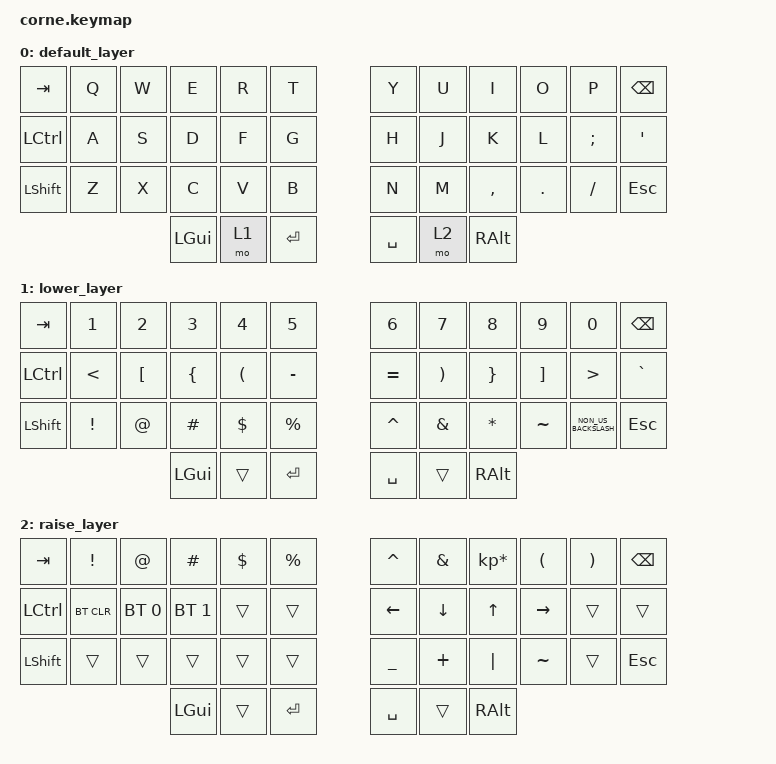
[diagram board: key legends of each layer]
/*
 * Copyright (c) 2020 The ZMK Contributors
 *
 * SPDX-License-Identifier: MIT
 */

#include <behaviors.dtsi>
#include <dt-bindings/zmk/keys.h>
#include <dt-bindings/zmk/bt.h>

/ {
        keymap {
                compatible = "zmk,keymap";

                default_layer {
// -----------------------------------------------------------------------------------------
// |  TAB |  Q  |  W  |  E  |  R  |  T  |   |  Y  |  U   |  I   |  O   |  P   | BKSP  |
// | CTRL |  A  |  S  |  D  |  F  |  G  |   |  H  |  J   |  K   |  L   |  ; : |  ' "  |
// | SHFT |  Z  |  X  |  C  |  V  |  B  |   |  N  |  M   |  , < |  . > |  / ? | ESC   |
//                    | GUI | LWR | ENT |   | SPC | RSE  | ALT |
                        bindings = <
   &kp TAB   &kp Q &kp W &kp E &kp R &kp T   &kp Y &kp U  &kp I     &kp O   &kp P    &kp BSPC
   &kp LCTRL &kp A &kp S &kp D &kp F &kp G   &kp H &kp J  &kp K     &kp L   &kp SEMI &kp SQT
   &kp LSHFT &kp Z &kp X &kp C &kp V &kp B   &kp N &kp M  &kp COMMA &kp DOT &kp FSLH &kp ESC
                  &kp LGUI  &mo 1  &kp RET   &kp SPACE    &mo 2     &kp RALT
                        >;
                };
                lower_layer {
// -----------------------------------------------------------------------------------------
// |  TAB |  1  |  2  |  3  |  4  |  5    |   |  6    |  7  |  8  |  9  |  0    | BKSP |
// | CTRL |  <  |  [  |  {  |  (  |  - _  |   |  = +  |  )  |  }  |  ]  |  >    |  `   |
// | SHFT |  !  |  @  |  #  |  $  |  %    |   |  ^    |  &  |  *  |  ~  |  \ |  | ESC  |
//                    | GUI |     | ENT |   | SPC |     | ALT |
                        bindings = <
   &kp TAB    &kp N1       &kp N2       &kp N3       &kp N4       &kp N5             &kp N6     &kp N7     &kp N8      &kp N9     &kp N0                &kp BSPC
   &kp LCTRL  &kp LT       &kp LBKT     &kp LBRC     &kp LPAR     &kp MINUS          &kp EQUAL  &kp RPAR   &kp RBRC    &kp RBKT   &kp GT                &kp GRAVE
   &kp LSHFT  &kp EXCL     &kp AT       &kp POUND    &kp DOLLAR   &kp PRCNT          &kp CARET  &kp AMPS   &kp STAR    &kp TILDE  &kp NON_US_BACKSLASH  &kp ESC
                          	            &kp LGUI     &trans       &kp RET            &kp SPACE  &trans     &kp RALT
                        >;
                };

                raise_layer {
// -----------------------------------------------------------------------------------------
// |  TAB |  !    |  @  |  #  |  $  |  %  |   |  ^  |  &  |  *  |  (  |  )  | BKSP |
// | CTRL | BTCLR | BT1 | BT2 |     |     |   | LFT | DWN |  UP | RGT |     |      |
// | SHFT |       |     |     |     |     |   |  _  |  +  |  |  |  ~  |     | ESC  |
//                    | GUI |     | ENT |   | SPC |     | ALT |
                        bindings = <
   &kp  TAB    &kp EXCL      &kp AT        &kp HASH       &kp DLLR      &kp PRCNT      &kp CARET   &kp AMPS   &kp KP_MULTIPLY  &kp LPAR    &kp RPAR   &kp BSPC
   &kp LCTRL   &bt BT_CLR    &bt BT_SEL 0  &bt BT_SEL 1   &trans        &trans         &kp LEFT    &kp DOWN   &kp UP           &kp RIGHT   &trans     &trans
   &kp LSHFT   &trans        &trans        &trans         &trans        &trans         &kp UNDER   &kp PLUS   &kp PIPE         &kp TILDE   &trans     &kp ESC
                    	                   &kp LGUI       &trans        &kp RET        &kp SPACE   &trans     &kp RALT
                        >;
                };
        };
};
